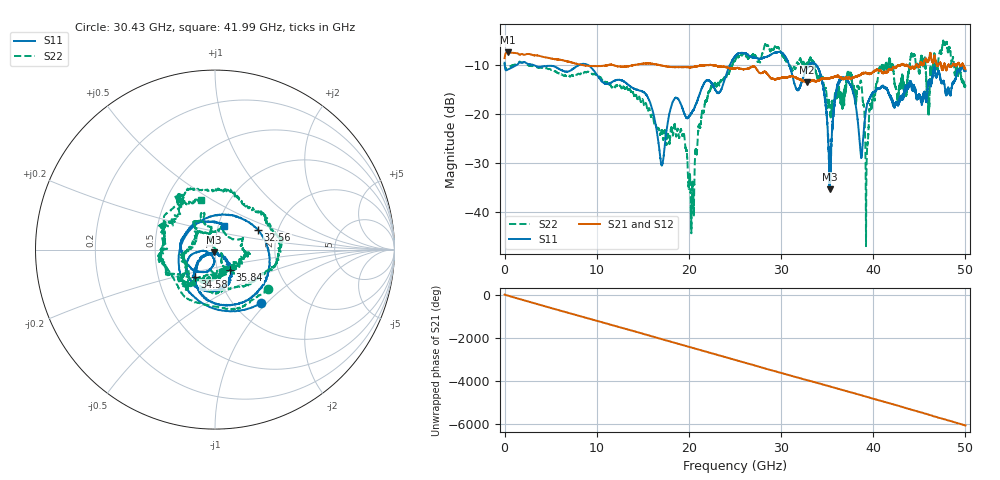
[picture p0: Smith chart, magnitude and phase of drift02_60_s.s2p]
!Created with skrf (http://scikit-rf.org).
# Hz S RI R 50.0
!freq ReS11 ImS11 ReS21 ImS21 ReS12 ImS12 ReS22 ImS22
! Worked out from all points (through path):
!   10001 points, 300 kHz to 50 GHz, reference 50 ohm
!   highest |S21| = -7.31 dB at 325.3 MHz (marker M1); lowest = -13.4 dB at 32.8 GHz (marker M2)
!   group delay of S21, straight-line fit = 335 ps
!   lowest |S11| = -35.4 dB at 35.26 GHz (marker M3), VSWR 1.03, Z = 49.3 - j1.54 ohm
!   |S11| at or under -10 dB: 3.225 GHz to 8.006 GHz (4.781 GHz wide, 85.1 % of centre); 9.105 GHz to 24.42 GHz (15.31 GHz wide, 91.4 % of centre); 33.85 GHz to 49.61 GHz (15.76 GHz wide, 37.8 % of centre) (the widest 3 of 10)
!   |S22| runs from -47.1 to -4.9 dB; largest |S21 - S12| = 0.013
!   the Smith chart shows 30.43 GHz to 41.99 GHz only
!   S11 on the Smith chart (normalised r, x): 30.43 GHz: 1.31, -0.93; 32.56 GHz: 1.57, +0.38; 34.58 GHz: 0.76, -0.24; 35.84 GHz: 1.15, -0.27; 41.99 GHz: 1.06, +0.29
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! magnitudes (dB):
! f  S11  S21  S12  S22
! 300 kHz  -9.5  -8.5  -8.4  -9.5
! 325.3 MHz  -10.9  -7.3  -7.3  -10.6
! 8.335 GHz  -9.7  -9.9  -9.9  -11.6
! 16.67 GHz  -25.6  -9.9  -9.9  -22.9
! 19.31 GHz  -18.8  -10.4  -10.4  -24.5
! 20.37 GHz  -19.5  -10.3  -10.3  -33.9
! 21.94 GHz  -13.1  -10.0  -10.0  -17.2
! 25 GHz  -8.2  -10.6  -10.6  -9.0
! 30.43 GHz  -8.1  -12.5  -12.5  -8.7
! 32.56 GHz  -11.6  -13.2  -13.3  -10.1
! 32.8 GHz  -10.7  -13.4  -13.5  -9.5
! 33.34 GHz  -9.6  -13.1  -13.2  -9.0
! 34.58 GHz  -14.4  -12.8  -12.7  -13.2
! 35.26 GHz  -35.4  -12.6  -12.6  -18.0
! 35.84 GHz  -17.0  -12.3  -12.3  -15.9
! 37.45 GHz  -13.9  -12.6  -12.5  -11.9
! 38.56 GHz  -26.2  -12.0  -11.9  -13.9
! 39.32 GHz  -18.2  -11.6  -11.6  -27.7
! 41.67 GHz  -15.8  -11.0  -11.1  -9.6
! 41.99 GHz  -17.0  -10.9  -10.9  -10.8
! 47.77 GHz  -14.3  -9.8  -9.8  -5.6
! 50 GHz  -11.2  -10.8  -10.8  -14.2
